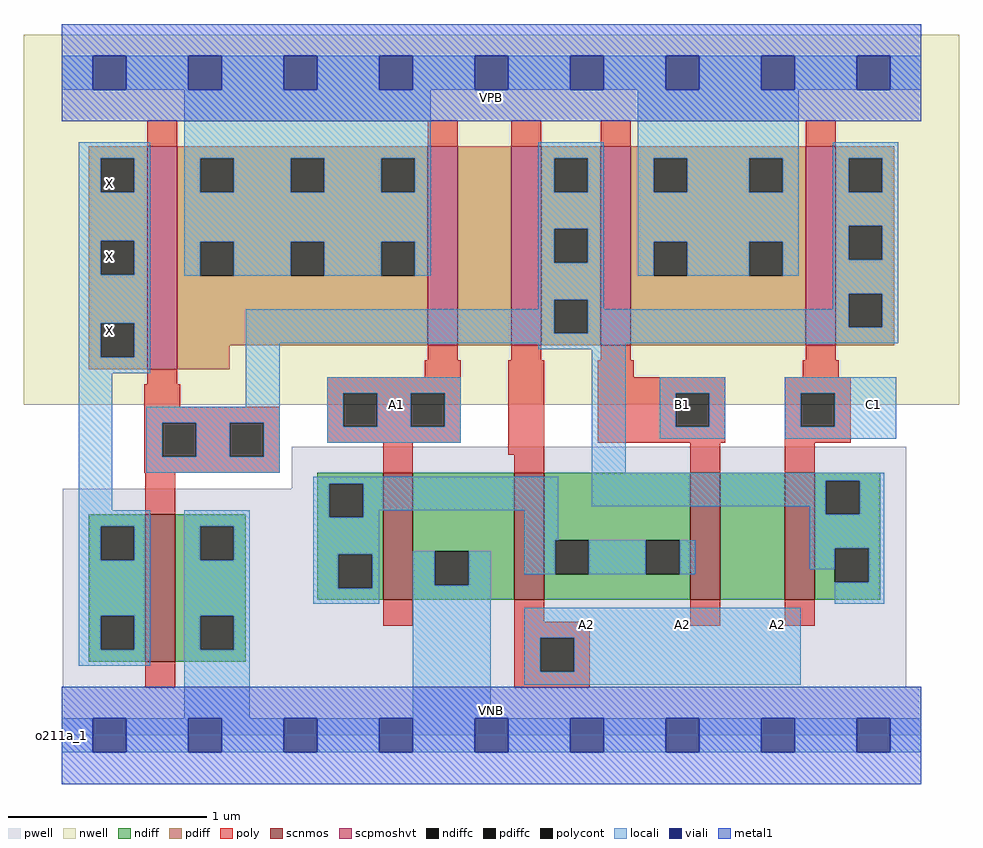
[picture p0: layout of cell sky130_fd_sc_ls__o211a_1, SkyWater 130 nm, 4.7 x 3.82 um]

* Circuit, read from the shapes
.subckt sky130_fd_sc_ls__o211a_1 A1 A2 B1 C1 VGND VNB VPB VPWR X
XM1 VGND n1 X VNB sky130_fd_pr__nfet_01v8 w=0.74 l=0.15
XM2 VGND A1 n2 VNB sky130_fd_pr__nfet_01v8 w=0.64 l=0.15
XM3 n2 A2 VGND VNB sky130_fd_pr__nfet_01v8 w=0.64 l=0.15
XM4 n3 B1 n2 VNB sky130_fd_pr__nfet_01v8 w=0.64 l=0.15
XM5 n1 C1 n3 VNB sky130_fd_pr__nfet_01v8 w=0.64 l=0.15
XM6 VPWR n1 X VPB sky130_fd_pr__pfet_01v8_hvt w=1.12 l=0.15
XM7 n4 A1 VPWR VPB sky130_fd_pr__pfet_01v8_hvt w=1 l=0.15
XM8 n1 A2 n4 VPB sky130_fd_pr__pfet_01v8_hvt w=1 l=0.15
XM9 VPWR B1 n1 VPB sky130_fd_pr__pfet_01v8_hvt w=1 l=0.15
XM10 n1 C1 VPWR VPB sky130_fd_pr__pfet_01v8_hvt w=1 l=0.15
.ends

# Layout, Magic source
magic
tech sky130A
magscale 1 2
<< nwell >>
rect -38 332 902 704
<< pwell >>
rect 231 248 849 290
rect 1 49 849 248
rect 0 0 864 49
<< scnmos >>
rect 84 74 114 222
rect 323 136 353 264
rect 455 136 485 264
rect 632 136 662 264
rect 727 136 757 264
<< scpmoshvt >>
rect 86 368 116 592
rect 368 392 398 592
rect 452 392 482 592
rect 542 392 572 592
rect 748 392 778 592
<< ndiff >>
rect 257 253 323 264
rect 27 210 84 222
rect 27 176 39 210
rect 73 176 84 210
rect 27 120 84 176
rect 27 86 39 120
rect 73 86 84 120
rect 27 74 84 86
rect 114 210 185 222
rect 114 176 139 210
rect 173 176 185 210
rect 114 120 185 176
rect 257 219 269 253
rect 303 219 323 253
rect 257 182 323 219
rect 257 148 278 182
rect 312 148 323 182
rect 257 136 323 148
rect 353 185 455 264
rect 353 151 375 185
rect 409 151 455 185
rect 353 136 455 151
rect 485 196 632 264
rect 485 162 496 196
rect 530 162 587 196
rect 621 162 632 196
rect 485 136 632 162
rect 662 136 727 264
rect 757 256 823 264
rect 757 222 768 256
rect 802 222 823 256
rect 757 188 823 222
rect 757 154 777 188
rect 811 154 823 188
rect 757 136 823 154
rect 114 86 139 120
rect 173 86 185 120
rect 114 74 185 86
<< pdiff >>
rect 27 580 86 592
rect 27 546 39 580
rect 73 546 86 580
rect 27 497 86 546
rect 27 463 39 497
rect 73 463 86 497
rect 27 414 86 463
rect 27 380 39 414
rect 73 380 86 414
rect 27 368 86 380
rect 116 580 368 592
rect 116 546 139 580
rect 173 546 230 580
rect 264 546 321 580
rect 355 546 368 580
rect 116 496 368 546
rect 116 462 139 496
rect 173 462 230 496
rect 264 462 321 496
rect 355 462 368 496
rect 116 392 368 462
rect 398 392 452 592
rect 482 580 542 592
rect 482 546 495 580
rect 529 546 542 580
rect 482 509 542 546
rect 482 475 495 509
rect 529 475 542 509
rect 482 438 542 475
rect 482 404 495 438
rect 529 404 542 438
rect 482 392 542 404
rect 572 580 748 592
rect 572 546 595 580
rect 629 546 691 580
rect 725 546 748 580
rect 572 496 748 546
rect 572 462 595 496
rect 629 462 691 496
rect 725 462 748 496
rect 572 392 748 462
rect 778 580 837 592
rect 778 546 791 580
rect 825 546 837 580
rect 778 512 837 546
rect 778 478 791 512
rect 825 478 837 512
rect 778 444 837 478
rect 778 410 791 444
rect 825 410 837 444
rect 778 392 837 410
rect 116 368 169 392
<< ndiffc >>
rect 39 176 73 210
rect 39 86 73 120
rect 139 176 173 210
rect 269 219 303 253
rect 278 148 312 182
rect 375 151 409 185
rect 496 162 530 196
rect 587 162 621 196
rect 768 222 802 256
rect 777 154 811 188
rect 139 86 173 120
<< pdiffc >>
rect 39 546 73 580
rect 39 463 73 497
rect 39 380 73 414
rect 139 546 173 580
rect 230 546 264 580
rect 321 546 355 580
rect 139 462 173 496
rect 230 462 264 496
rect 321 462 355 496
rect 495 546 529 580
rect 495 475 529 509
rect 495 404 529 438
rect 595 546 629 580
rect 691 546 725 580
rect 595 462 629 496
rect 691 462 725 496
rect 791 546 825 580
rect 791 478 825 512
rect 791 410 825 444
<< poly >>
rect 86 592 116 618
rect 368 592 398 618
rect 452 592 482 618
rect 542 592 572 618
rect 748 592 778 618
rect 368 377 398 392
rect 452 377 482 392
rect 542 377 572 392
rect 748 377 778 392
rect 86 353 116 368
rect 365 360 401 377
rect 83 330 119 353
rect 267 344 401 360
rect 83 314 219 330
rect 83 280 101 314
rect 135 280 169 314
rect 203 280 219 314
rect 267 310 283 344
rect 317 310 351 344
rect 385 310 401 344
rect 267 294 401 310
rect 83 264 219 280
rect 323 264 353 294
rect 449 282 485 377
rect 539 360 575 377
rect 745 360 781 377
rect 539 344 667 360
rect 539 310 617 344
rect 651 310 667 344
rect 539 294 667 310
rect 727 344 793 360
rect 727 310 743 344
rect 777 310 793 344
rect 727 294 793 310
rect 455 264 485 282
rect 632 264 662 294
rect 727 264 757 294
rect 84 222 114 264
rect 323 110 353 136
rect 455 114 485 136
rect 455 98 531 114
rect 632 110 662 136
rect 727 110 757 136
rect 84 48 114 74
rect 455 64 481 98
rect 515 64 531 98
rect 455 48 531 64
<< polycont >>
rect 101 280 135 314
rect 169 280 203 314
rect 283 310 317 344
rect 351 310 385 344
rect 617 310 651 344
rect 743 310 777 344
rect 481 64 515 98
<< locali >>
rect 0 649 31 683
rect 65 649 127 683
rect 161 649 223 683
rect 257 649 319 683
rect 353 649 415 683
rect 449 649 511 683
rect 545 649 607 683
rect 641 649 703 683
rect 737 649 799 683
rect 833 649 864 683
rect 17 580 89 596
rect 17 546 39 580
rect 73 546 89 580
rect 17 497 89 546
rect 17 463 39 497
rect 73 463 89 497
rect 17 414 89 463
rect 123 580 371 649
rect 123 546 139 580
rect 173 546 230 580
rect 264 546 321 580
rect 355 546 371 580
rect 123 496 371 546
rect 123 462 139 496
rect 173 462 230 496
rect 264 462 321 496
rect 355 462 371 496
rect 479 580 545 596
rect 479 546 495 580
rect 529 546 545 580
rect 479 509 545 546
rect 479 475 495 509
rect 529 475 545 509
rect 479 438 545 475
rect 579 580 741 649
rect 579 546 595 580
rect 629 546 691 580
rect 725 546 741 580
rect 579 496 741 546
rect 579 462 595 496
rect 629 462 691 496
rect 725 462 741 496
rect 775 580 841 596
rect 775 546 791 580
rect 825 546 841 580
rect 775 512 841 546
rect 775 478 791 512
rect 825 478 841 512
rect 479 428 495 438
rect 17 380 39 414
rect 73 380 89 414
rect 17 364 89 380
rect 185 404 495 428
rect 529 428 545 438
rect 775 444 841 478
rect 775 428 791 444
rect 529 410 791 428
rect 825 410 841 444
rect 529 404 841 410
rect 185 394 841 404
rect 17 226 51 364
rect 185 330 219 394
rect 479 388 567 394
rect 85 314 219 330
rect 85 280 101 314
rect 135 280 169 314
rect 203 280 219 314
rect 267 344 401 360
rect 267 310 283 344
rect 317 310 351 344
rect 385 310 401 344
rect 267 294 401 310
rect 85 264 219 280
rect 533 264 567 388
rect 601 344 667 360
rect 601 310 617 344
rect 651 310 667 344
rect 601 298 667 310
rect 727 344 839 360
rect 727 310 743 344
rect 777 310 839 344
rect 727 298 839 310
rect 253 253 499 260
rect 17 210 89 226
rect 17 176 39 210
rect 73 176 89 210
rect 17 120 89 176
rect 17 86 39 120
rect 73 86 89 120
rect 17 70 89 86
rect 123 210 189 226
rect 123 176 139 210
rect 173 176 189 210
rect 123 120 189 176
rect 253 219 269 253
rect 303 226 499 253
rect 533 256 827 264
rect 533 230 768 256
rect 303 219 319 226
rect 253 182 319 219
rect 465 196 499 226
rect 752 222 768 230
rect 802 222 827 256
rect 253 148 278 182
rect 312 148 319 182
rect 253 132 319 148
rect 353 151 375 185
rect 409 151 431 185
rect 465 162 496 196
rect 530 162 587 196
rect 621 162 637 196
rect 752 188 827 222
rect 752 167 777 188
rect 123 86 139 120
rect 173 86 189 120
rect 123 17 189 86
rect 353 17 431 151
rect 811 154 827 188
rect 777 132 827 154
rect 465 98 743 128
rect 465 64 481 98
rect 515 64 743 98
rect 465 51 743 64
rect 0 -17 31 17
rect 65 -17 127 17
rect 161 -17 223 17
rect 257 -17 319 17
rect 353 -17 415 17
rect 449 -17 511 17
rect 545 -17 607 17
rect 641 -17 703 17
rect 737 -17 799 17
rect 833 -17 864 17
<< viali >>
rect 31 649 65 683
rect 127 649 161 683
rect 223 649 257 683
rect 319 649 353 683
rect 415 649 449 683
rect 511 649 545 683
rect 607 649 641 683
rect 703 649 737 683
rect 799 649 833 683
rect 31 -17 65 17
rect 127 -17 161 17
rect 223 -17 257 17
rect 319 -17 353 17
rect 415 -17 449 17
rect 511 -17 545 17
rect 607 -17 641 17
rect 703 -17 737 17
rect 799 -17 833 17
<< metal1 >>
rect 0 683 864 715
rect 0 649 31 683
rect 65 649 127 683
rect 161 649 223 683
rect 257 649 319 683
rect 353 649 415 683
rect 449 649 511 683
rect 545 649 607 683
rect 641 649 703 683
rect 737 649 799 683
rect 833 649 864 683
rect 0 617 864 649
rect 0 17 864 49
rect 0 -17 31 17
rect 65 -17 127 17
rect 161 -17 223 17
rect 257 -17 319 17
rect 353 -17 415 17
rect 449 -17 511 17
rect 545 -17 607 17
rect 641 -17 703 17
rect 737 -17 799 17
rect 833 -17 864 17
rect 0 -49 864 -17
<< labels >>
rlabel comment s 0 0 0 0 4 o211a_1
flabel pwell s 0 0 864 49 0 FreeSans 200 0 0 0 VNB
port 6 nsew ground bidirectional
flabel nwell s 0 617 864 666 0 FreeSans 200 0 0 0 VPB
port 7 nsew power bidirectional
flabel metal1 s 0 617 864 666 0 FreeSans 340 0 0 0 VPWR
port 8 nsew power bidirectional abutment
flabel metal1 s 0 0 864 49 0 FreeSans 340 0 0 0 VGND
port 5 nsew ground bidirectional abutment
flabel locali s 31 390 65 424 0 FreeSans 340 0 0 0 X
port 9 nsew signal output
flabel locali s 31 464 65 498 0 FreeSans 340 0 0 0 X
port 9 nsew signal output
flabel locali s 31 538 65 572 0 FreeSans 340 0 0 0 X
port 9 nsew signal output
flabel locali s 799 316 833 350 0 FreeSans 340 0 0 0 C1
port 4 nsew signal input
flabel locali s 607 316 641 350 0 FreeSans 340 0 0 0 B1
port 3 nsew signal input
flabel locali s 511 94 545 128 0 FreeSans 340 0 0 0 A2
port 2 nsew signal input
flabel locali s 607 94 641 128 0 FreeSans 340 0 0 0 A2
port 2 nsew signal input
flabel locali s 703 94 737 128 0 FreeSans 340 0 0 0 A2
port 2 nsew signal input
flabel locali s 319 316 353 350 0 FreeSans 340 0 0 0 A1
port 1 nsew signal input
<< properties >>
string LEFsite unit
string LEFclass CORE
string FIXED_BBOX 0 0 864 666
string GDS_FILE $PDKPATH/libs.ref/sky130_fd_sc_ls/gds/sky130_fd_sc_ls.gds
string LEFsymmetry X Y
string GDS_END 1063330
string GDS_START 1055350
<< end >>
